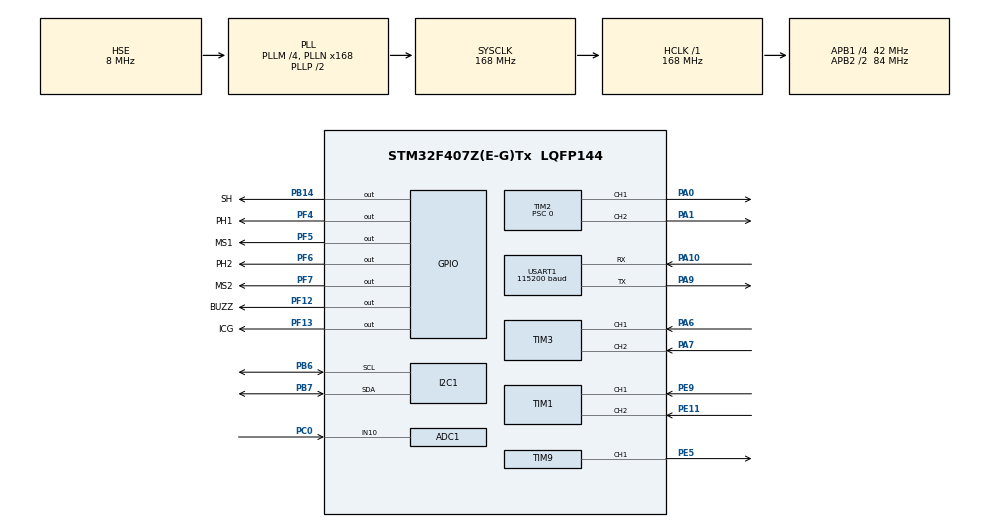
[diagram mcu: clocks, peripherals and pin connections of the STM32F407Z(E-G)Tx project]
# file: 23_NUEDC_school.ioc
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ADC1.Channel-0\#ChannelRegularConversion=ADC_CHANNEL_10
ADC1.ClockPrescaler=ADC_CLOCK_SYNC_PCLK_DIV4
ADC1.ContinuousConvMode=DISABLE
ADC1.ExternalTrigConv=ADC_EXTERNALTRIGCONV_T8_TRGO
ADC1.NbrOfConversionFlag=1
ADC1.Rank-0\#ChannelRegularConversion=1
ADC1.SamplingTime-0\#ChannelRegularConversion=ADC_SAMPLETIME_3CYCLES
ADC1.master=1
Dma.ADC1.0.Direction=DMA_PERIPH_TO_MEMORY
Dma.ADC1.0.FIFOMode=DMA_FIFOMODE_DISABLE
Dma.ADC1.0.Instance=DMA2_Stream0
Dma.ADC1.0.MemDataAlignment=DMA_MDATAALIGN_HALFWORD
Dma.ADC1.0.MemInc=DMA_MINC_ENABLE
Dma.ADC1.0.Mode=DMA_NORMAL
Dma.ADC1.0.PeriphDataAlignment=DMA_PDATAALIGN_HALFWORD
Dma.ADC1.0.PeriphInc=DMA_PINC_DISABLE
Dma.ADC1.0.Priority=DMA_PRIORITY_LOW
Dma.Request0=ADC1
I2C1.I2C_Mode=I2C_Fast
Mcu.Family=STM32F4
Mcu.Name=STM32F407Z(E-G)Tx
Mcu.Package=LQFP144
NVIC.DMA2_Stream0_IRQn=true\:0\:0\:false\:false\:true\:false\:true\:true
NVIC.PriorityGroup=NVIC_PRIORITYGROUP_4
NVIC.TIM1_UP_TIM10_IRQn=true\:1\:0\:true\:false\:true\:true\:true\:true
NVIC.TIM6_DAC_IRQn=true\:0\:0\:true\:false\:true\:true\:true\:true
PA0-WKUP.Signal=S_TIM2_CH1_ETR
PA1.Signal=S_TIM2_CH2
PA10.Mode=Asynchronous
PA10.Signal=USART1_RX
PA13.Mode=Serial_Wire
PA13.Signal=SYS_JTMS-SWDIO
PA14.Mode=Serial_Wire
PA14.Signal=SYS_JTCK-SWCLK
PA6.Signal=S_TIM3_CH1
PA7.Signal=S_TIM3_CH2
PA9.Mode=Asynchronous
PA9.Signal=USART1_TX
PB14.GPIO_Label=SH
PB14.GPIO_Speed=GPIO_SPEED_FREQ_VERY_HIGH
PB14.PinState=GPIO_PIN_SET
PB14.Signal=GPIO_Output
PB6.Mode=I2C
PB6.Signal=I2C1_SCL
PB7.Mode=I2C
PB7.Signal=I2C1_SDA
PC0.Signal=ADCx_IN10
PE11.Signal=S_TIM1_CH2
PE5.GPIO_Speed=GPIO_SPEED_FREQ_VERY_HIGH
PE5.Signal=S_TIM9_CH1
PE9.Signal=S_TIM1_CH1
PF12.GPIO_Label=BUZZ
PF12.PinState=GPIO_PIN_SET
PF12.Signal=GPIO_Output
PF13.GPIO_Label=ICG
PF13.Signal=GPIO_Output
PF4.GPIO_Label=PH1
PF4.Signal=GPIO_Output
PF5.GPIO_Label=MS1
PF5.PinState=GPIO_PIN_SET
PF5.Signal=GPIO_Output
PF6.GPIO_Label=PH2
PF6.Signal=GPIO_Output
PF7.GPIO_Label=MS2
PF7.PinState=GPIO_PIN_SET
PF7.Signal=GPIO_Output
PH0-OSC_IN.Mode=HSE-External-Oscillator
PH0-OSC_IN.Signal=RCC_OSC_IN
PH1-OSC_OUT.Mode=HSE-External-Oscillator
PH1-OSC_OUT.Signal=RCC_OSC_OUT
ProjectManager.HeapSize=0x200
ProjectManager.StackSize=0x400
ProjectManager.TargetToolchain=MDK-ARM V5.32
RCC.48MHZClocksFreq_Value=84000000
RCC.AHBFreq_Value=168000000
RCC.APB1CLKDivider=RCC_HCLK_DIV4
RCC.APB1Freq_Value=42000000
RCC.APB1TimFreq_Value=84000000
RCC.APB2CLKDivider=RCC_HCLK_DIV2
RCC.APB2Freq_Value=84000000
RCC.APB2TimFreq_Value=168000000
RCC.CortexFreq_Value=168000000
RCC.HCLKFreq_Value=168000000
RCC.HSE_VALUE=8000000
RCC.HSI_VALUE=16000000
RCC.LSE_VALUE=32768
RCC.PLLM=4
RCC.PLLN=168
RCC.PLLSourceVirtual=RCC_PLLSOURCE_HSE
RCC.SYSCLKFreq_VALUE=168000000
RCC.SYSCLKSource=RCC_SYSCLKSOURCE_PLLCLK
RCC.VCOOutputFreq_Value=336000000
SH.ADCx_IN10.0=ADC1_IN10,IN10
SH.S_TIM1_CH1.0=TIM1_CH1,Encoder_Interface
SH.S_TIM1_CH2.0=TIM1_CH2,Encoder_Interface
SH.S_TIM2_CH1_ETR.0=TIM2_CH1,PWM Generation1 CH1
SH.S_TIM2_CH2.0=TIM2_CH2,PWM Generation2 CH2
SH.S_TIM3_CH1.0=TIM3_CH1,Encoder_Interface
SH.S_TIM3_CH2.0=TIM3_CH2,Encoder_Interface
SH.S_TIM9_CH1.0=TIM9_CH1,PWM Generation1 CH1
TIM1.EncoderMode=TIM_ENCODERMODE_TI12
TIM1.IC1Filter=10
TIM1.IC2Filter=10
TIM10.Period=4999
TIM10.Prescaler=167
TIM2.Channel-PWM\ Generation1\ CH1=TIM_CHANNEL_1
TIM2.Channel-PWM\ Generation2\ CH2=TIM_CHANNEL_2
TIM2.Period=1000
TIM2.Prescaler=0
TIM2.Pulse-PWM\ Generation1\ CH1=0
TIM2.Pulse-PWM\ Generation2\ CH2=0
TIM3.EncoderMode=TIM_ENCODERMODE_TI12
TIM3.IC1Filter=10
TIM3.IC2Filter=10
TIM6.AutoReloadPreload=TIM_AUTORELOAD_PRELOAD_ENABLE
TIM6.Period=167
TIM6.Prescaler=2999
TIM8.Period=119
TIM8.Prescaler=1
TIM8.TIM_MasterOutputTrigger=TIM_TRGO_UPDATE
TIM9.Channel-PWM\ Generation1\ CH1=TIM_CHANNEL_1
TIM9.OCFastMode_PWM-PWM\ Generation1\ CH1=TIM_OCFAST_ENABLE
TIM9.Period=119
TIM9.Prescaler=0
TIM9.Pulse-PWM\ Generation1\ CH1=60
USART1.BaudRate=115200
USART1.VirtualMode=VM_ASYNC
VP_TIM10_VS_ClockSourceINT.Mode=Enable_Timer
VP_TIM2_VS_ClockSourceINT.Mode=Internal
VP_TIM6_VS_ClockSourceINT.Mode=Enable_Timer
VP_TIM8_VS_ClockSourceINT.Mode=Internal
VP_TIM9_VS_ClockSourceINT.Mode=Internal
board=custom

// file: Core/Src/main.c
/* USER CODE BEGIN Header */
/**
 ******************************************************************************
 * @file           : main.c
 * @brief          : Main program body
 ******************************************************************************
 * @attention
 *
 * Copyright (c) 2023 STMicroelectronics.
 * All rights reserved.
 *
 * This software is licensed under terms that can be found in the LICENSE file
 * in the root directory of this software component.
 * If no LICENSE file comes with this software, it is provided AS-IS.
 *
 ******************************************************************************
 */
/* USER CODE END Header */
#include "main.h"
#include "adc.h"
#include "dma.h"
#include "i2c.h"
#include "tim.h"
#include "usart.h"
#include "gpio.h"

/* USER CODE BEGIN Includes */
#include "oled.h"
#include "delay.h"
#include "stdio.h"
#include "string.h"
#include "math.h"
#include "pid.h"
#include "kalmanfilter.h"
/* USER CODE END Includes */

/* USER CODE BEGIN PM */
#define max(a, b) ((a) >= (b) ? (a) : (b))
#define min(a, b) ((a) <= (b) ? (a) : (b))
/* USER CODE END PM */

/* USER CODE BEGIN PV */
uint16_t ccd_rawdata[1546]; // 储存CCD接收的原始数�???????????
uint16_t ccd_data[128];     // 储存平均后的CCD数据

float L_speed_setpoint = 12, R_speed_setpoint = 12;

uint32_t icg_flag, stop_line_flag;
uint8_t l, r;
uint8_t l_w, r_w;
uint16_t avg, _max, _min;

uint8_t inner_flag = 1;

float delta;

uint16_t light_setpoint = 200;
float Kp = 0.09;

KalmanFilter_t ccd_filter;
/* USER CODE END PV */

void SystemClock_Config(void);
/* USER CODE BEGIN PFP */
void DriveMotors(int16_t l, int16_t r)
{
    if (l > 1000)
        l = 1000;
    if (r > 1000)
        r = 1000;
    HAL_GPIO_WritePin(PH1_GPIO_Port, PH1_Pin, (GPIO_PinState)(l >= 0));
    __HAL_TIM_SetCompare(&htim2, TIM_CHANNEL_1, l > 0 ? l : (0 - l));
    HAL_GPIO_WritePin(PH2_GPIO_Port, PH2_Pin, (GPIO_PinState)(r >= 0));

    __HAL_TIM_SetCompare(&htim2, TIM_CHANNEL_2, r > 0 ? r : (0 - r));
}

void HAL_TIM_PeriodElapsedCallback(TIM_HandleTypeDef *htim)
{
    if (htim->Instance == htim6.Instance)
    {
        if (HAL_GetTick() - icg_flag >= 10)
        {
            HAL_GPIO_WritePin(ICG_GPIO_Port, ICG_Pin, 1);
            HAL_GPIO_WritePin(SH_GPIO_Port, SH_Pin, 0);
            delay_us(2);
            HAL_GPIO_WritePin(SH_GPIO_Port, SH_Pin, 1);
            delay_us(4);
            HAL_GPIO_WritePin(ICG_GPIO_Port, ICG_Pin, 0);
            HAL_ADC_Start_DMA(&hadc1, (uint32_t *)ccd_rawdata, 1546);
            icg_flag = HAL_GetTick();
        }
        else
        {
            HAL_GPIO_WritePin(SH_GPIO_Port, SH_Pin, 0);
            delay_us(2);
            HAL_GPIO_WritePin(SH_GPIO_Port, SH_Pin, 1);
            delay_us(4);
        }
    }
    else if (htim->Instance == htim10.Instance)
    {
        // volatile float light = -pid_calc(&pid_light, avg, 270);
        // htim6.Instance->PSC = 500 + (int16_t)light;
        uint8_t line = inner_flag ? l : r;
        int16_t psc;
        psc = htim6.Instance->PSC;
        psc += (avg - 240) * Kp;
        if (psc < 30)
            psc = 30;
        htim6.Instance->PSC = psc;

        int16_t ccr_l = (int16_t)__HAL_TIM_GetCounter(&htim1), ccr_r = (int16_t)__HAL_TIM_GetCounter(&htim3);
        __HAL_TIM_SetCounter(&htim1, 0);
        __HAL_TIM_SetCounter(&htim3, 0);
        char t[128];
        sprintf(t, "X1=%d, X2=%d, X3=%d\r\n", psc, l_w, r_w);
        HAL_UART_Transmit(&huart1, t, strlen(t), 1000);

        if (l != 128)
            delta = 0.2 * pid_calc(&pid_pos, line, 64);
        volatile float speed_r = -pid_calc(&pid_r, -ccr_r, (R_speed_setpoint + delta));
        volatile float speed_l = pid_calc(&pid_l, ccr_l, (L_speed_setpoint - delta));
        DriveMotors(10 * speed_l, 10 * speed_r);
    }
}

// 128点找左右
void FindLines(uint8_t *l, uint8_t *r, uint16_t *data, uint16_t threshold, uint8_t *l_w, uint8_t *r_w)
{
    *r = *l = 128;
    for (int i = 0; i < 128 - 6; i++)
    {
        if (data[i + 6] - data[i] > threshold)
        {
            for (int j = i + 1; j < 128 - 6; j++)
                if (data[j] - data[j + 6] > threshold)
                {
                    *l = (i + j + 6) / 2, *l_w = j + 6 - i;
                    break;
                }
            if (*l == 128)
                *l = (i + 127) / 2, *l_w = 127 - i;
            break;
        }
        if(data[i] - data[i + 6] > threshold)
        {
            *l = i  / 2, *l_w = i;
            break;
        }
    }
    for (int i = 127; i >= 0 + 6; i--)
    {
        if (data[i - 6] - data[i] > threshold)
        {
            for (int j = i - 1; j >= 6; j--)
                if (data[j] - data[j - 6] > threshold)
                {
                    *r = (i + j - 6) / 2, *r_w = i - j + 6;
                    break;
                }
            if (*r == 128)
                *r = i / 2, *r_w = i;
            break;
        }
        if(data[i] - data[i - 6] > threshold)
        {
            *r = (i + 127) / 2, *l_w = 127 - i;
            break;
        }
    }
}

/* USER CODE END PFP */

int main(void)
{

    /* MCU Configuration--------------------------------------------------------*/

    /* Reset of all peripherals, Initializes the Flash interface and the Systick. */
    HAL_Init();

    /* Configure the system clock */
    SystemClock_Config();

    /* Initialize all configured peripherals */
    MX_GPIO_Init();
    MX_DMA_Init();
    MX_I2C1_Init();
    MX_TIM1_Init();
    MX_TIM2_Init();
    MX_TIM3_Init();
    MX_ADC1_Init();
    MX_TIM9_Init();
    MX_USART1_UART_Init();
    MX_TIM8_Init();
    MX_TIM6_Init();
    MX_TIM10_Init();
    /* USER CODE BEGIN 2 */
    PID_struct_init(&pid_r, DELTA_PID, 95, 95, 2.f, 1.f, 1.f);
    PID_struct_init(&pid_l, DELTA_PID, 95, 95, 2.f, 1.f, 1.f);
    PID_struct_init(&pid_pos, POSITION_PID, 95, 95, 0.4f, 0.f, 0.33f);
    PID_struct_init(&pid_light, POSITION_PID, 450, 320, 0.5f, 0.004f, 0.5f);

    KalmanFilter_init(&ccd_filter, 3, 80);

    HAL_TIM_Base_Start(&htim8);
    HAL_TIM_Base_Start_IT(&htim6);
    HAL_TIM_Base_Start_IT(&htim10);
    HAL_TIM_Encoder_Start(&htim1, TIM_CHANNEL_ALL);
    HAL_TIM_Encoder_Start(&htim3, TIM_CHANNEL_ALL);

    OLED_Init();
    delay_init(168);

    HAL_Delay(500);

    HAL_TIM_PWM_Start(&htim9, TIM_CHANNEL_1);
    HAL_TIM_PWM_Start(&htim2, TIM_CHANNEL_1);
    HAL_TIM_PWM_Start(&htim2, TIM_CHANNEL_2);
    /* USER CODE END 2 */

    /* Infinite loop */
    /* USER CODE BEGIN WHILE */
    while (1)
    {
        int32_t sum = 0;
        _max = 0, _min = 65535;
        for (int i = 0; i < 128; i++)
        {
            int32_t data = 0;
            for (int j = 0; j < 8; j++)
                data += (ccd_rawdata[272 + i * 8 + j] - 380);
            ccd_data[i] = (data / 8);
            sum += ccd_data[i];
            _max = max(_max, ccd_data[i]);
            _min = min(_min, ccd_data[i]);
        }
        avg = sum / 128;

        OLED_ShowChart(ccd_data, 1, 1700, (_max * 7 + _min) / 8);
        FindLines(&l, &r, ccd_data, 500, &l_w, &r_w);

        HAL_GPIO_WritePin(BUZZ_GPIO_Port, BUZZ_Pin, r_w > 50);

//        OLED_ShowChart(ccd_data, 1, 1700, (_max * 7 + _min) / 8);
        FindLines(&l, &r, ccd_data, 500, &l_w, &r_w);
//        HAL_GPIO_WritePin(BUZZ_GPIO_Port, BUZZ_Pin, r_w > 50);

        if (r_w > 50 && HAL_GetTick() - stop_line_flag >= 500)
        {
            inner_flag = !inner_flag;
            stop_line_flag = HAL_GetTick();
        }
//        OLED_ShowChar(l, 0, 'L', 8, 1);
//        OLED_ShowChar(r, 8, 'R', 8, 1);
//        OLED_Refresh();

        // for(int i = 0; i < 1500; i++)
        // {
        //     char t[128];
        //     sprintf(t, "X1=%d\r\n", ccd_rawdata[i + 32]);
        //     HAL_UART_Transmit(&huart1, t, strlen(t), 1000);
        // }
        /* USER CODE END WHILE */

    }
}

void SystemClock_Config(void)
{
    RCC_OscInitTypeDef RCC_OscInitStruct = {0};
    RCC_ClkInitTypeDef RCC_ClkInitStruct = {0};

    /** Configure the main internal regulator output voltage
     */
    __HAL_RCC_PWR_CLK_ENABLE();
    __HAL_PWR_VOLTAGESCALING_CONFIG(PWR_REGULATOR_VOLTAGE_SCALE1);

    /** Initializes the RCC Oscillators according to the specified parameters
     * in the RCC_OscInitTypeDef structure.
     */
    RCC_OscInitStruct.OscillatorType = RCC_OSCILLATORTYPE_HSE;
    RCC_OscInitStruct.HSEState = RCC_HSE_ON;
    RCC_OscInitStruct.PLL.PLLState = RCC_PLL_ON;
    RCC_OscInitStruct.PLL.PLLSource = RCC_PLLSOURCE_HSE;
    RCC_OscInitStruct.PLL.PLLM = 4;
    RCC_OscInitStruct.PLL.PLLN = 168;
    RCC_OscInitStruct.PLL.PLLP = RCC_PLLP_DIV2;
    RCC_OscInitStruct.PLL.PLLQ = 4;
    if (HAL_RCC_OscConfig(&RCC_OscInitStruct) != HAL_OK)
    {
        Error_Handler();
    }

    /** Initializes the CPU, AHB and APB buses clocks
     */
    RCC_ClkInitStruct.ClockType = RCC_CLOCKTYPE_HCLK | RCC_CLOCKTYPE_SYSCLK | RCC_CLOCKTYPE_PCLK1 | RCC_CLOCKTYPE_PCLK2;
    RCC_ClkInitStruct.SYSCLKSource = RCC_SYSCLKSOURCE_PLLCLK;
    RCC_ClkInitStruct.AHBCLKDivider = RCC_SYSCLK_DIV1;
    RCC_ClkInitStruct.APB1CLKDivider = RCC_HCLK_DIV4;
    RCC_ClkInitStruct.APB2CLKDivider = RCC_HCLK_DIV2;

    if (HAL_RCC_ClockConfig(&RCC_ClkInitStruct, FLASH_LATENCY_5) != HAL_OK)
    {
        Error_Handler();
    }
}

void Error_Handler(void)
{
    __disable_irq();
    while (1)
    {
    }
}
